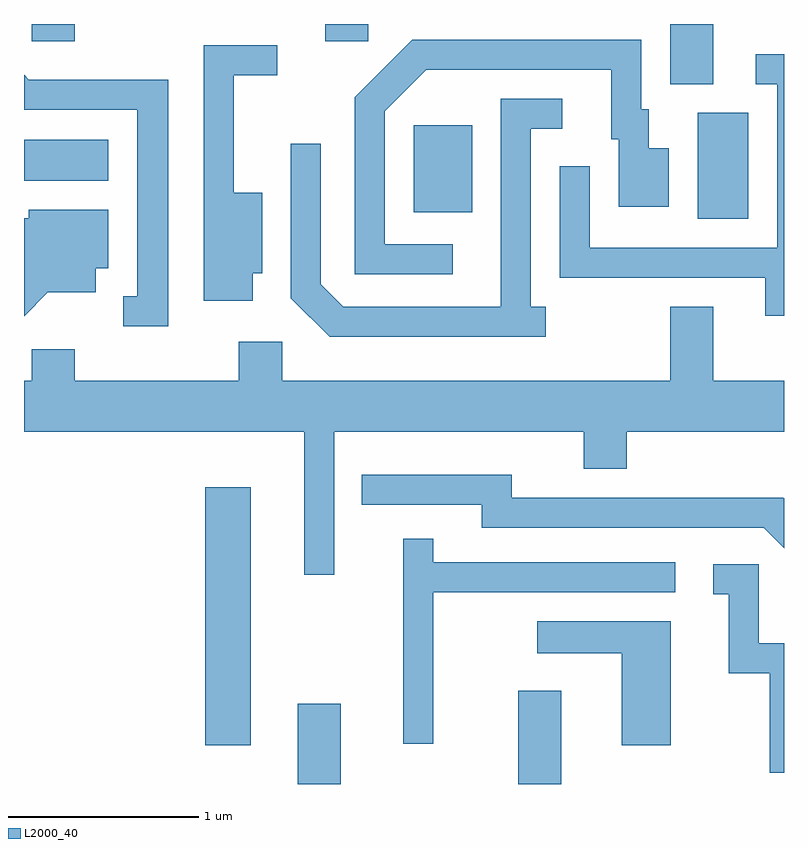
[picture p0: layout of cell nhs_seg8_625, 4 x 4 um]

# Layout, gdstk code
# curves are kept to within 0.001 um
import gdstk
lib = gdstk.Library(unit=1e-6, precision=1e-09)
def R(c, l, rs):  # rectangles x0, y0, x1, y1
    for r in rs: c.add(gdstk.rectangle(r[:2], r[2:], *l))
def P(c, l, *ps):  # polygons
    for p in ps: c.add(gdstk.Polygon(p, *l))
L2000_40 = (2000, 40)

nhs_seg8_625 = lib.new_cell('nhs_seg8_625')
R(nhs_seg8_625, L2000_40, [(205.051,1832.342,205.279,1832.764), (206.211,1832.342,206.439,1832.834), (204.566,1832.546,204.804,1833.904), (207.156,1835.316,207.424,1835.874), (205.661,1835.351,205.969,1835.809), (203.611,1835.516,204.054,1835.734), (207.011,1836.026,207.239,1836.342), (203.651,1836.251,203.879,1836.342), (205.196,1836.251,205.424,1836.342)])
P(nhs_seg8_625, L2000_40, [(205.868,1835.184),(205.509,1835.184),(205.509,1835.884),(205.727,1836.101),(206.701,1836.101),(206.701,1835.736),(206.741,1835.736),(206.741,1835.381),(207.004,1835.381),(207.004,1835.689),(206.899,1835.689),(206.899,1835.894),(206.859,1835.894),(206.859,1836.259),(205.654,1836.259),(205.351,1835.957),(205.351,1835.026),(205.868,1835.026)],
  [(204.814,1835.031),(204.864,1835.031),(204.864,1835.454),(204.714,1835.454),(204.714,1836.071),(204.943,1836.071),(204.943,1836.229),(204.556,1836.229),(204.556,1834.886),(204.814,1834.886)],
  [(207.611,1836.184),(207.463,1836.184),(207.463,1836.026),(207.576,1836.026),(207.576,1835.164),(206.589,1835.164),(206.589,1835.593),(206.431,1835.593),(206.431,1835.006),(207.511,1835.006),(207.511,1834.806),(207.611,1834.806)],
  [(204.369,1836.049),(203.637,1836.049),(203.611,1836.075),(203.611,1835.891),(204.206,1835.891),(204.206,1834.909),(204.133,1834.909),(204.133,1834.751),(204.369,1834.751)],
  [(206.358,1834.854),(206.279,1834.854),(206.279,1835.791),(206.443,1835.791),(206.443,1835.949),(206.121,1835.949),(206.121,1834.854),(205.292,1834.854),(205.174,1834.972),(205.174,1835.713),(205.016,1835.713),(205.016,1834.899),(205.219,1834.696),(206.358,1834.696)],
  [(203.737,1834.931),(203.989,1834.931),(203.989,1835.056),(204.054,1835.056),(204.054,1835.364),(203.636,1835.364),(203.636,1835.319),(203.611,1835.319),(203.611,1834.805)],
  [(205.244,1834.196),(206.556,1834.196),(206.556,1834.001),(206.784,1834.001),(206.784,1834.196),(207.611,1834.196),(207.611,1834.464),(207.239,1834.464),(207.239,1834.854),(207.011,1834.854),(207.011,1834.464),(204.969,1834.464),(204.969,1834.669),(204.741,1834.669),(204.741,1834.464),(203.879,1834.464),(203.879,1834.629),(203.651,1834.629),(203.651,1834.464),(203.611,1834.464),(203.611,1834.196),(205.086,1834.196),(205.086,1833.443),(205.244,1833.443)],
  [(207.611,1833.845),(207.607,1833.849),(206.179,1833.849),(206.179,1833.969),(205.388,1833.969),(205.388,1833.811),(206.021,1833.811),(206.021,1833.691),(207.504,1833.691),(207.611,1833.584)],
  [(205.764,1833.351),(207.038,1833.351),(207.038,1833.509),(205.764,1833.509),(205.764,1833.633),(205.606,1833.633),(205.606,1832.553),(205.764,1832.553)],
  [(207.611,1833.084),(207.479,1833.084),(207.479,1833.499),(207.238,1833.499),(207.238,1833.341),(207.321,1833.341),(207.321,1832.926),(207.536,1832.926),(207.536,1832.401),(207.611,1832.401)],
  [(207.014,1833.199),(206.313,1833.199),(206.313,1833.031),(206.756,1833.031),(206.756,1832.546),(207.014,1832.546)])

lib.write_gds('nhs_seg8_625.gds')
